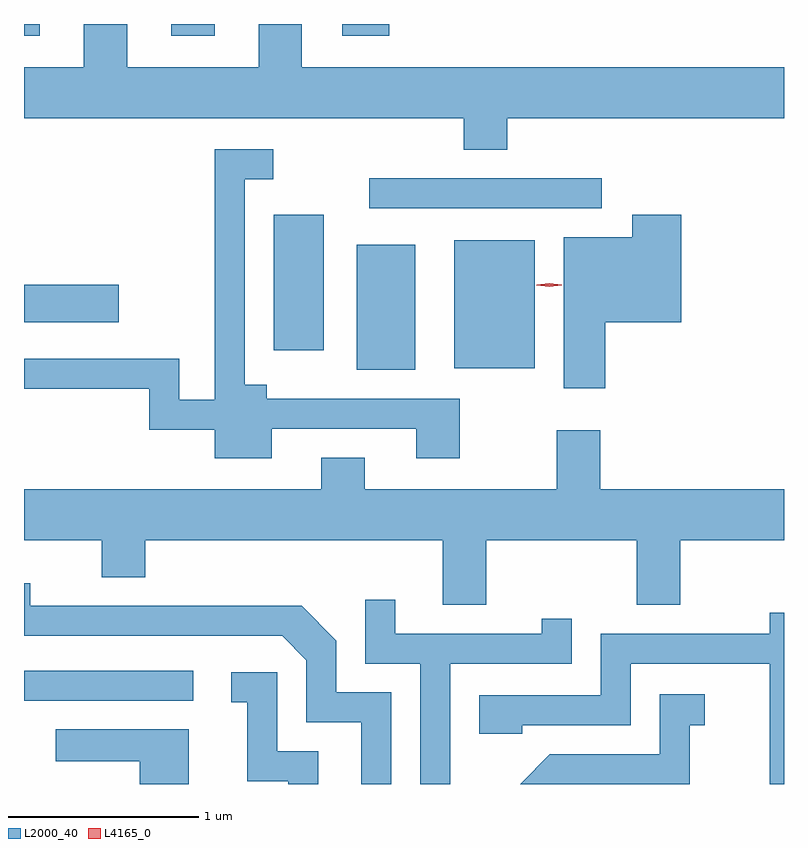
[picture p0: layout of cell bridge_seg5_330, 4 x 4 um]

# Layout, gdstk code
import gdstk
lib = gdstk.Library(unit=1e-6, precision=1e-09)
def R(c, l, rs):  # rectangles x0, y0, x1, y1
    for r in rs: c.add(gdstk.rectangle(r[:2], r[2:], *l))
def P(c, l, *ps):  # polygons
    for p in ps: c.add(gdstk.Polygon(p, *l))
L2000_40 = (2000, 40)
L4165_0 = (4165, 0)

bridge_seg5_330 = lib.new_cell('bridge_seg5_330')
R(bridge_seg5_330, L2000_40, [(784.086,1455.951,784.978,1456.109), (785.836,1457.691,786.144,1458.349), (786.351,1457.701,786.774,1458.374), (785.401,1457.796,785.664,1458.509), (784.086,1457.941,784.584,1458.139), (785.903,1458.541,787.128,1458.699), (784.086,1459.451,784.169,1459.512), (784.861,1459.451,785.089,1459.512), (785.761,1459.451,786.009,1459.512)])
P(bridge_seg5_330, L2000_40, [(786.629,1459.016),(788.086,1459.016),(788.086,1459.284),(785.549,1459.284),(785.549,1459.512),(785.321,1459.512),(785.321,1459.284),(784.629,1459.284),(784.629,1459.512),(784.401,1459.512),(784.401,1459.284),(784.086,1459.284),(784.086,1459.016),(786.401,1459.016),(786.401,1458.851),(786.629,1458.851)],
  [(785.389,1457.381),(786.151,1457.381),(786.151,1457.226),(786.379,1457.226),(786.379,1457.539),(785.364,1457.539),(785.364,1457.614),(785.249,1457.614),(785.249,1458.696),(785.398,1458.696),(785.398,1458.854),(785.091,1458.854),(785.091,1457.534),(784.904,1457.534),(784.904,1457.749),(784.086,1457.749),(784.086,1457.591),(784.746,1457.591),(784.746,1457.376),(785.091,1457.376),(785.091,1457.226),(785.389,1457.226)],
  [(787.144,1457.941),(787.544,1457.941),(787.544,1458.509),(787.286,1458.509),(787.286,1458.389),(786.926,1458.389),(786.926,1457.596),(787.144,1457.596)],
  [(786.519,1456.796),(787.311,1456.796),(787.311,1456.456),(787.539,1456.456),(787.539,1456.796),(788.086,1456.796),(788.086,1457.064),(787.119,1457.064),(787.119,1457.374),(786.891,1457.374),(786.891,1457.064),(785.879,1457.064),(785.879,1457.229),(785.651,1457.229),(785.651,1457.064),(784.086,1457.064),(784.086,1456.796),(784.496,1456.796),(784.496,1456.601),(784.724,1456.601),(784.724,1456.796),(786.291,1456.796),(786.291,1456.456),(786.519,1456.456)],
  [(786.019,1455.994),(785.729,1455.994),(785.729,1456.267),(785.547,1456.449),(784.119,1456.449),(784.119,1456.569),(784.086,1456.569),(784.086,1456.291),(785.444,1456.291),(785.571,1456.164),(785.571,1455.836),(785.861,1455.836),(785.861,1455.512),(786.019,1455.512)],
  [(786.329,1456.146),(786.969,1456.146),(786.969,1456.383),(786.811,1456.383),(786.811,1456.304),(786.039,1456.304),(786.039,1456.483),(785.881,1456.483),(785.881,1456.146),(786.171,1456.146),(786.171,1455.512),(786.329,1455.512)],
  [(788.086,1456.414),(788.011,1456.414),(788.011,1456.304),(787.121,1456.304),(787.121,1455.979),(786.481,1455.979),(786.481,1455.776),(786.709,1455.776),(786.709,1455.821),(787.279,1455.821),(787.279,1456.146),(788.011,1456.146),(788.011,1455.512),(788.086,1455.512)],
  [(785.634,1455.684),(785.419,1455.684),(785.419,1456.099),(785.178,1456.099),(785.178,1455.941),(785.261,1455.941),(785.261,1455.526),(785.476,1455.526),(785.476,1455.512),(785.634,1455.512)],
  [(787.589,1455.821),(787.668,1455.821),(787.668,1455.984),(787.431,1455.984),(787.431,1455.669),(786.854,1455.669),(786.697,1455.512),(787.589,1455.512)],
  [(784.954,1455.799),(784.253,1455.799),(784.253,1455.631),(784.696,1455.631),(784.696,1455.512),(784.954,1455.512)])
P(bridge_seg5_330, L4165_0, [(786.85,1458.128),(786.784,1458.138),(786.783,1458.138),(786.784,1458.139),(786.85,1458.148),(786.916,1458.139),(786.917,1458.138),(786.916,1458.138)])

lib.write_gds('bridge_seg5_330.gds')
